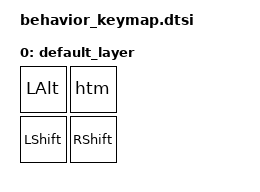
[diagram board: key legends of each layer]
/ {
    behaviors {
        htm: htm {
            compatible = "zmk,behavior-hold-tap-mod";
            #binding-cells = <0>;
            bindings = <&kp A &kp B &kp C>;
            mods = <(MOD_LSFT|MOD_RSFT)>;
            tapping-term-ms = <200>;
        };
    };

    keymap {
        compatible = "zmk,keymap";

        default_layer {
            bindings = <
                &kp LEFT_ALT &htm
                &kp LEFT_SHIFT &kp RIGHT_SHIFT
            >;
        };
    };
};
